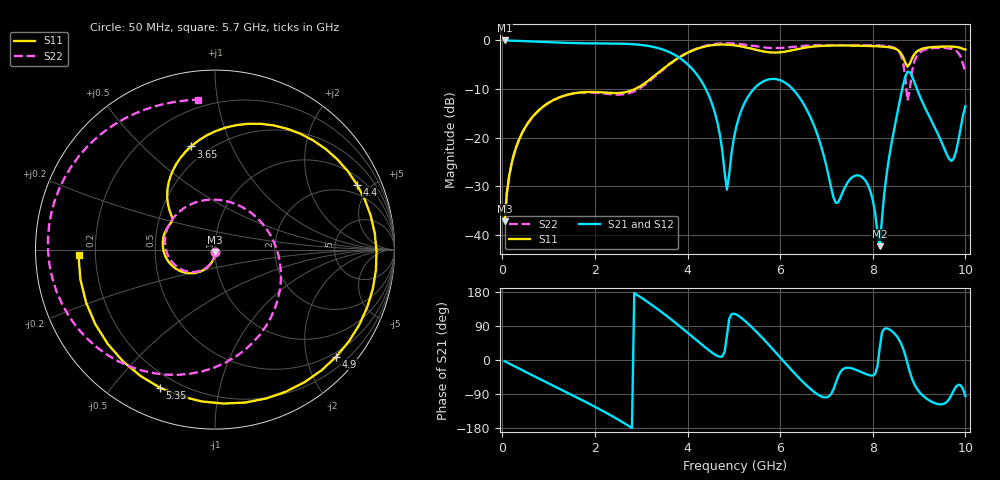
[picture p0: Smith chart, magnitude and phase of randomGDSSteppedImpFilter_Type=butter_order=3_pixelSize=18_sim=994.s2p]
! freq	dB(S11)	phase(S11)	dB(S12)	phase(S12)
!  dB(S21)	phase(S21)	dB(S22)	phase(S22)
!S-par simulation data
#  GHz  S  DB  R 50
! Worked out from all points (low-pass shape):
!   200 points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, 50 MHz to 10 GHz, reference 50 ohm
!   highest |S21| = -0.02 dB at 50 MHz (marker M1); lowest = -42.3 dB at 8.15 GHz (marker M2)
!   |S21| within 3 dB of the highest: start of sweep to 3.729 GHz
!   lowest |S11| = -37.2 dB at 50 MHz (marker M3), VSWR 1.03, Z = 50 - j1.38 ohm
!   |S11| at or under -10 dB: start of sweep to 2.867 GHz
!   |S22| runs from -37.2 to -0.6 dB; largest |S21 - S12| = 0
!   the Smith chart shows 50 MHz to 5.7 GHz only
!   S11 on the Smith chart (normalised r, x): 50 MHz: 1.00, -0.03; 3.65 GHz: 0.40, +0.71; 4.4 GHz: 1.39, +4.14; 4.9 GHz: 0.41, -2.59; 5.35 GHz: 0.14, -0.67; 5.7 GHz: 0.14, -0.02
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0.05  -37.19 -88.1  -0.02 -3.2  -0.02 -3.2  -37.21 -88.0
0.5  -17.79 -118.8  -0.16 -31.1  -0.16 -31.1  -17.80 -120.7
1.75  -10.64 172.3  -0.60 -107.6  -0.60 -107.6  -10.73 153.0
2.7  -10.57 143.6  -0.72 -171.7  -0.72 -171.7  -10.94 51.5
3.4  -6.41 121.2  -1.68 130.2  -1.68 130.2  -6.58 -44.8
3.65  -4.58 103.1  -2.61 106.8  -2.61 106.8  -4.65 -74.0
4.4  -1.21 24.6  -10.11 31.7  -10.11 31.7  -1.07 -150.9
4.9  -0.90 -41.4  -27.53 108.4  -27.53 108.4  -0.60 163.1
5.05  -1.06 -63.4  -17.87 120.3  -17.87 120.3  -0.68 149.9
5.35  -1.64 -111.8  -10.95 90.9  -10.95 90.9  -1.04 124.7
5.7  -2.37 -177.5  -8.17 47.4  -8.17 47.4  -1.50 96.5
6.15  -2.24 88.5  -8.97 -13.7  -8.97 -13.7  -1.46 58.6
6.7  -1.28 -7.2  -16.79 -80.9  -16.79 -80.9  -1.03 3.0
7.35  -1.05 -86.2  -31.21 -24.7  -31.21 -24.7  -0.97 -61.8
7.85  -1.13 -136.0  -28.93 -36.9  -28.93 -36.9  -1.00 -104.4
8.15  -1.24 -165.3  -42.30 32.1  -42.30 32.1  -1.06 -128.4
8.35  -1.40 174.1  -24.21 81.3  -24.21 81.3  -1.22 -145.7
8.6  -2.54 144.8  -11.63 46.5  -11.63 46.5  -2.84 -177.2
8.75  -5.41 142.9  -6.45 -9.2  -6.45 -9.2  -12.37 -173.8
8.95  -2.29 138.1  -9.90 -75.1  -9.90 -75.1  -3.20 -142.3
9.7  -1.27 65.2  -24.79 -92.1  -24.79 -92.1  -1.76 156.5
10  -1.88 44.1  -13.54 -95.0  -13.54 -95.0  -6.75 145.0
